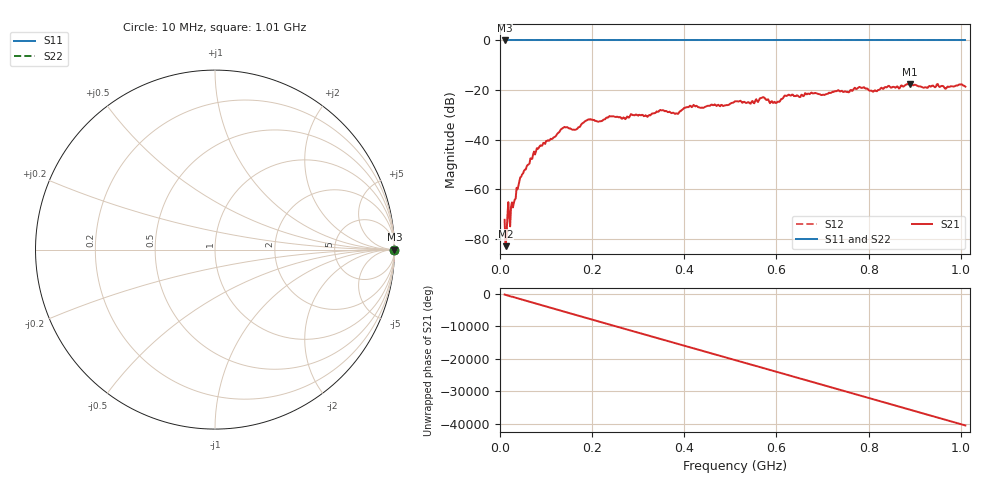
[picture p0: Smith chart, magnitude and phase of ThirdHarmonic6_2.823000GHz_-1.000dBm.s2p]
! 8/17/2025 7:29:06 AM
! C:\ANRITSUVNA\TEMP\TEMP.S2P
! CHANNEL.1
! TR.MEASUREMENT
! RAW.DATA
! RF.CORRECTION.OFF
! AVERAGING.OFF
! IF.BANDWIDTH: 5KHZ
! SWEEPTYPE:  FREQ.SWEEP(Linear)
! Reference Plane Port Info
! PORT:  PORT1  PORT2
! DISTANCE:  0  m  0  m
! TIME:  0  s  0  s
! PHASE.OFFSET:  0  deg.  0  deg.
! LOSS:  0  dB  0  dB
! REF.LOSS:  0  dB  0  dB
! REF.FREQ:  0  Hz  0  Hz
! Power Info
! POWER:  -20  dBm  -20  dBm
! EFF.POWER:  -20  dBm  -20  dBm
! SOURCE.ATTEN:  0  dB  0  dB
! TEST.ATTEN:  0  dB  0  dB
# GHZ S RI R 50.0
! FREQ.GHZ  S11RE  S11IM  S21RE  S21IM  S12RE  S12IM  S22RE  S22IM
!; PortSelection: Port_12
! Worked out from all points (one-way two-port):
!   501 points, 10 MHz to 1.01 GHz, reference 50 ohm
!   highest |S21| = -17.48 dB at 890 MHz (marker M1); lowest = -82.9 dB at 12 MHz (marker M2)
!   lowest |S11| = 0.0 dB at 10 MHz (marker M3)
!   |S11| at or under -10 dB: nowhere
!   |S22| runs from 0.0 to 0.0 dB; largest |S21 - S12| = 1.1
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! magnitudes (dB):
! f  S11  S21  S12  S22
! 10 MHz  0.0  -72.2  0.0  0.0
! 12 MHz  0.0  -82.9  0.0  0.0
! 46 MHz  0.0  -54.8  0.0  0.0
! 76 MHz  0.0  -45.9  0.0  0.0
! 136 MHz  0.0  -35.4  0.0  0.0
! 162 MHz  0.0  -36.0  0.0  0.0
! 178 MHz  0.0  -33.5  0.0  0.0
! 192 MHz  0.0  -31.8  0.0  0.0
! 322 MHz  0.0  -30.3  0.0  0.0
! 344 MHz  0.0  -28.7  0.0  0.0
! 384 MHz  0.0  -29.4  0.0  0.0
! 410 MHz  0.0  -26.8  0.0  0.0
! 510 MHz  0.0  -24.5  0.0  0.0
! 548 MHz  0.0  -24.4  0.0  0.0
! 570 MHz  0.0  -22.9  0.0  0.0
! 596 MHz  0.0  -24.7  0.0  0.0
! 622 MHz  0.0  -22.3  0.0  0.0
! 678 MHz  0.0  -21.3  0.0  0.0
! 814 MHz  0.0  -20.1  0.0  0.0
! 844 MHz  0.0  -18.3  0.0  0.0
! 890 MHz  0.0  -17.5  0.0  0.0
! 1.01 GHz  0.0  -18.6  0.0  0.0
